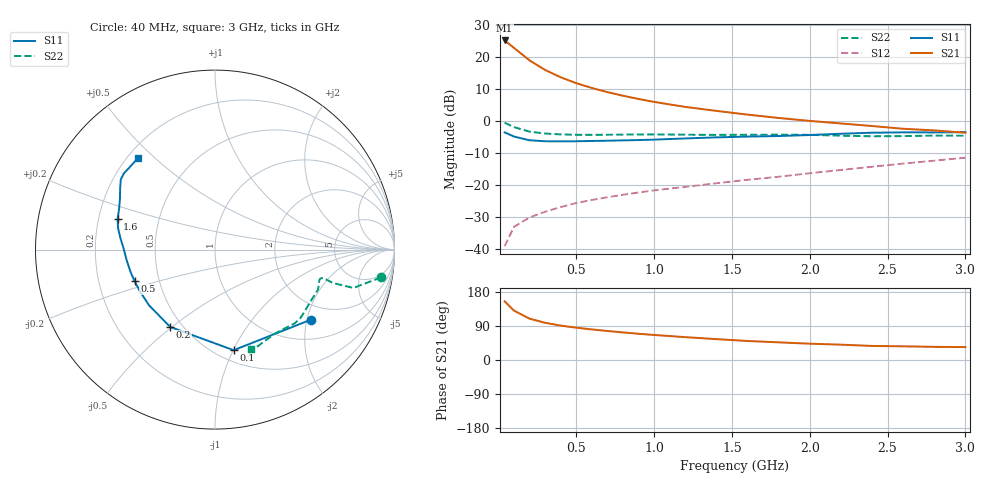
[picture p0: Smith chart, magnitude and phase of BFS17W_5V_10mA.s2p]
! Filename:  BFS17WC.S2P  Version:  4.0
! Philips part #: BFS17W  Date: Jun 1994
! Bias condition: Vce=5V, Ic=10mA
#  MHz  S  MA  R  50
! Freq  S11  S21  S12  S22  !GUM [dB]
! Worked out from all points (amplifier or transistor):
!   21 points, 40 MHz to 3 GHz, reference 50 ohm
!   highest |S21| = 25.2 dB at 40 MHz (marker M1)
!   |S21| within 3 dB of that: start of sweep to 117.5 MHz
!   unconditionally stable (mu >= 1): 398 MHz to 2.28 GHz
!   at 300 MHz: K = 0.89, MSG = 22.2 dB, |S12| = -28.4 dB
!   at 1 GHz: K = 1.20, MAG = 11.1 dB, |S12| = -21.7 dB
!   at 3 GHz: K = 0.96, MSG = 3.9 dB, |S12| = -11.5 dB
!   S11 on the Smith chart (normalised r, x): 40 MHz: 1.52, -2.12; 100 MHz: 0.60, -1.00; 200 MHz: 0.43, -0.49; 500 MHz: 0.36, -0.16; 1.6 GHz: 0.28, +0.14; 3 GHz: 0.24, +0.44
40  0.662 -36.1  18.12 154.9  0.011 73.3  0.938 -9.5
100  0.57 -79.5  13.88 130.3  0.022 59.3  0.8 -15.5
200  0.498 -120.1  8.849 109.1  0.031 54.8  0.68 -15.8
300  0.481 -139.8  6.272 98.2  0.038 56.2  0.635 -14.9
400  0.479 -151.3  4.817 90.8  0.045 58.8  0.615 -14.9
500  0.481 -158.7  3.895 85.3  0.052 61.2  0.607 -15.6
600  0.486 -164.5  3.276 80.7  0.058 63.7  0.606 -16.7
700  0.49 -169.2  2.821 76.6  0.064 65.1  0.608 -17.9
800  0.496 -173.4  2.478 72.8  0.07 67.0  0.611 -19.2
900  0.502 -177.3  2.204 69.2  0.076 68.4  0.614 -20.4
1000  0.51 179.0  1.983 66.1  0.082 69.9  0.615 -21.7
1200  0.532 172.8  1.656 60.3  0.093 73.1  0.609 -25.1
1400  0.553 167.5  1.436 55.1  0.106 76.4  0.605 -29.5
1600  0.569 162.6  1.255 50.2  0.12 79.4  0.607 -34.5
1800  0.58 157.1  1.112 46.6  0.134 82.6  0.61 -38.7
2000  0.602 151.6  1 43.0  0.152 85.2  0.605 -42.8
2200  0.63 147.0  0.913 40.5  0.171 87.2  0.588 -47.8
2400  0.654 143.4  0.832 37.1  0.192 88.7  0.575 -54.3
2600  0.662 140.0  0.754 36.1  0.215 89.1  0.579 -60.9
2800  0.661 135.4  0.71 34.7  0.239 89.5  0.589 -66.1
3000  0.667 129.9  0.654 34.0  0.266 89.4  0.587 -70.3
